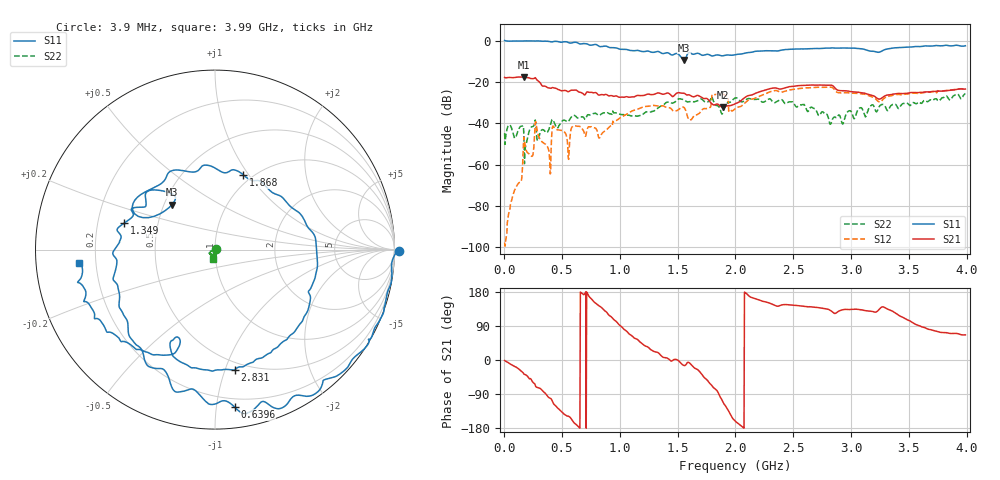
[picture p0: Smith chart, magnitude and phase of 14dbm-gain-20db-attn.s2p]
#  HZ  S  RI  R  50.00
! Rohde & Schwarz Vector Network Analyzer
! Rohde-Schwarz,ZNL20-2Port,1323001220101312,1.72.1.6-23.02.1.246
! Created: UTC 11/11/2024, 8:46:40 PM
! freq[Hz]  re:S11  im:S11  re:S21  im:S21  re:S12  im:S12  re:S22  im:S22
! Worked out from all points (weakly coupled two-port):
!   1023 points, 3.9 MHz to 3.99 GHz, reference 50 ohm
!   highest |S21| = -17.43 dB at 167.7 MHz (marker M1); lowest = -32.1 dB at 1.895 GHz (marker M2)
!   lowest |S11| = -9.2 dB at 1.556 GHz (marker M3), VSWR 2.06, Z = 27.5 + j15.7 ohm
!   |S11| at or under -10 dB: nowhere
!   |S22| runs from -59.6 to -25.6 dB; largest |S21 - S12| = 0.13
!   S11 on the Smith chart (normalised r, x): 3.9 MHz: -70, -20; 639.6 MHz: 0.14, -1.12; 1.349 GHz: 0.32, +0.13; 1.868 GHz: 0.91, +0.94; 2.831 GHz: 0.44, -1.08; 3.99 GHz: 0.14, -0.05
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3900000  1.027 -0.00762  0.1305 -0.00299  -7.79e-06 1.02e-05  0.00565 0.0013
1.365e8  0.9568 -0.255  0.1192 -0.059  -0.000141 0.000343  -0.00642 0.00499
1.677e8  0.9418 -0.3233  0.1096 -0.0778  0.00224 -0.00285  -0.00242 0.00779
2.379e8  0.8857 -0.4479  0.072 -0.0984  -0.000459 0.00152  -0.00484 0.00669
2.808e8  0.8583 -0.5135  0.036 -0.1095  -0.00725 -0.00364  0.00439 0.00253
3.861e8  0.6709 -0.7075  -0.0115 -0.0717  -0.00176 0.00131  0.00187 0.00679
4.329e8  0.5832 -0.7811  -0.0334 -0.0644  -0.00781 -0.00119  0.00451 0.00946
5.538e8  0.304 -0.8665  -0.0497 -0.0309  -0.000943 0.00125  0.006 0.00916
6.396e8  0.1103 -0.8773  -0.0592 -0.00508  -0.00639 0.00564  0.0104 0.00847
6.708e8  0.0256 -0.8492  -0.055 0.00323  -0.00195 0.00748  0.0127 0.00674
8.307e8  -0.286 -0.668  -0.0382 0.0309  -0.00106 0.00448  0.0151 0.00549
1.3338e9  -0.5409 0.1203  0.0519 0.0177  0.0202 -0.017  0.000875 -0.024
1.3494e9  -0.5054 0.1475  0.0517 0.013  0.0199 -0.0175  -0.000129 -0.0256
1.5561e9  -0.239 0.2511  0.0523 -0.0136  0.0109 -0.0216  -0.0287 -0.0239
1.6146e9  -0.3915 0.3198  0.0459 -0.00912  0.00771 -0.00944  -0.0218 -0.0257
1.8681e9  0.1577 0.4165  -0.0033 -0.0262  -0.0542 0.00601  -0.0203 -0.00812
1.8954e9  0.2084 0.3848  -0.00954 -0.023  -0.0334 0.0389  -0.00559 -0.0189
1.9968e9  0.3488 0.3052  -0.0282 -0.00994  -0.016 0.0158  -0.0144 -0.0384
2.6637e9  0.3033 -0.5771  -0.0652 0.0549  -0.0575 0.0468  -0.0061 -0.0236
2.8314e9  0.1113 -0.6683  -0.0527 0.0656  -0.0491 0.0568  -0.00149 -0.0107
3.3267e9  -0.2714 -0.5878  -0.0333 0.036  -0.0349 0.0289  0.0013 -0.0218
3.9897e9  -0.7589 -0.0737  0.0275 0.0623  0.0279 0.063  -0.00887 -0.0517
